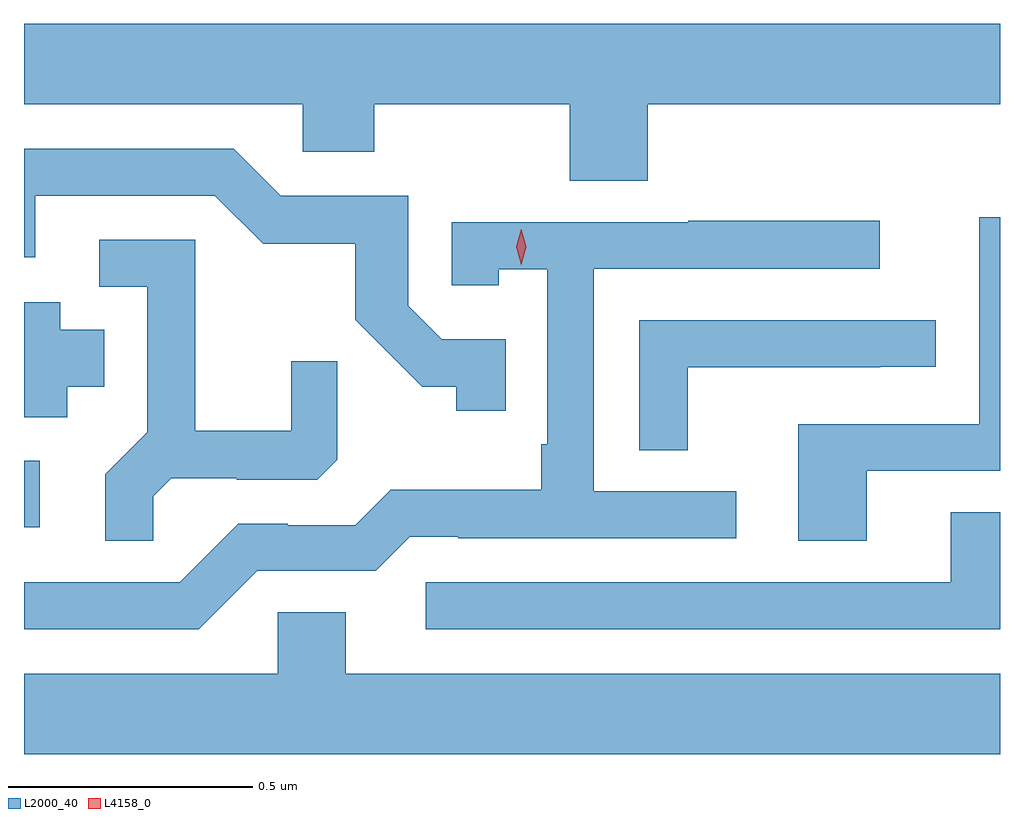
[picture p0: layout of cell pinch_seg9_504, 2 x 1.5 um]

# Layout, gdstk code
import gdstk
lib = gdstk.Library(unit=1e-6, precision=1e-09)
def R(c, l, rs):  # rectangles x0, y0, x1, y1
    for r in rs: c.add(gdstk.rectangle(r[:2], r[2:], *l))
def P(c, l, *ps):  # polygons
    for p in ps: c.add(gdstk.Polygon(p, *l))
L2000_40 = (2000, 40)
L4158_0 = (4158, 0)

pinch_seg9_504 = lib.new_cell('pinch_seg9_504')
R(pinch_seg9_504, L2000_40, [(387.656,1180.901,387.688,1181.037)])
P(pinch_seg9_504, L2000_40, [(388.934,1181.768),(389.656,1181.768),(389.656,1181.932),(387.656,1181.932),(387.656,1181.768),(388.227,1181.768),(388.227,1181.67),(388.374,1181.67),(388.374,1181.768),(388.774,1181.768),(388.774,1181.611),(388.934,1181.611)],
  [(388.643,1181.286),(388.512,1181.286),(388.443,1181.355),(388.443,1181.58),(388.182,1181.58),(388.086,1181.676),(387.656,1181.676),(387.656,1181.454),(387.679,1181.454),(387.679,1181.58),(388.047,1181.58),(388.146,1181.482),(388.335,1181.482),(388.335,1181.326),(388.472,1181.189),(388.542,1181.189),(388.542,1181.139),(388.643,1181.139)],
  [(389.383,1181.016),(389.656,1181.016),(389.656,1181.536),(389.613,1181.536),(389.613,1181.112),(389.243,1181.112),(389.243,1180.873),(389.383,1180.873)],
  [(388.134,1180.812),(388.377,1180.812),(388.446,1180.881),(388.546,1180.881),(388.546,1180.878),(389.116,1180.878),(389.116,1180.974),(388.824,1180.974),(388.824,1181.43),(389.41,1181.43),(389.41,1181.529),(389.017,1181.529),(389.017,1181.526),(388.533,1181.526),(388.533,1181.397),(388.629,1181.397),(388.629,1181.429),(388.728,1181.429),(388.728,1181.071),(388.716,1181.071),(388.716,1180.978),(388.408,1180.978),(388.335,1180.905),(388.196,1180.905),(388.196,1180.908),(388.095,1180.908),(387.975,1180.788),(387.656,1180.788),(387.656,1180.692),(388.014,1180.692)],
  [(387.921,1180.964),(387.958,1181.001),(388.092,1181.001),(388.092,1180.998),(388.257,1180.998),(388.298,1181.039),(388.298,1181.241),(388.204,1181.241),(388.204,1181.098),(388.007,1181.098),(388.007,1181.49),(387.81,1181.49),(387.81,1181.394),(387.909,1181.394),(387.909,1181.095),(387.823,1181.009),(387.823,1180.873),(387.921,1180.873)],
  [(387.745,1181.189),(387.82,1181.189),(387.82,1181.305),(387.73,1181.305),(387.73,1181.362),(387.656,1181.362),(387.656,1181.126),(387.745,1181.126)],
  [(389.016,1181.229),(389.411,1181.229),(389.411,1181.23),(389.524,1181.23),(389.524,1181.325),(388.917,1181.325),(388.917,1181.059),(389.016,1181.059)],
  [(389.656,1180.931),(389.555,1180.931),(389.555,1180.788),(388.479,1180.788),(388.479,1180.692),(389.656,1180.692)],
  [(389.656,1180.6),(388.315,1180.6),(388.315,1180.727),(388.176,1180.727),(388.176,1180.6),(387.656,1180.6),(387.656,1180.436),(389.656,1180.436)])
P(pinch_seg9_504, L4158_0, [(388.675,1181.438),(388.675,1181.439),(388.665,1181.475),(388.675,1181.511),(388.675,1181.511),(388.675,1181.511),(388.685,1181.475),(388.675,1181.439)])

lib.write_gds('pinch_seg9_504.gds')
